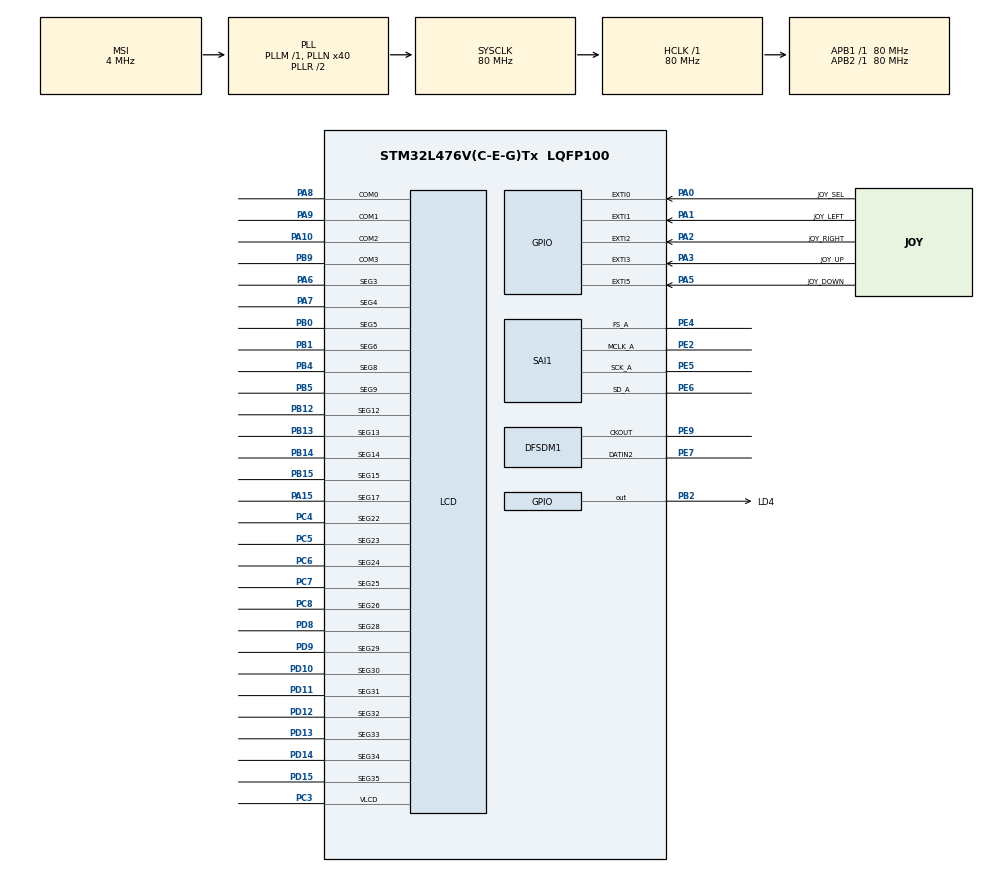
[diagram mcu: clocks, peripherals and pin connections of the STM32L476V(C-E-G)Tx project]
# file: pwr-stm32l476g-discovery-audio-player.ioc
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DFSDM1.Divider=4
DFSDM1.DmaMode_reg_FIL0=ENABLE
DFSDM1.FastMode_reg_FIL0=ENABLE
DFSDM1.Filter_injChannel2_FIL0=DFSDM_CHANNEL_2
DFSDM1.Filter_regChannel_FIL0=DFSDM_CHANNEL_2
DFSDM1.Fosr_FIL0=64
DFSDM1.Oversampling_CH2=10
DFSDM1.RightBitShift_CH2=0x02
DFSDM1.ScanMode_inj_FIL0=ENABLE
DFSDM1.Selection=DFSDM_CHANNEL_OUTPUT_CLOCK_AUDIO
DFSDM1.SincOrder_FIL0=DFSDM_FILTER_SINC3_ORDER
Dma.DFSDM1_FLT0.0.Direction=DMA_PERIPH_TO_MEMORY
Dma.DFSDM1_FLT0.0.Instance=DMA1_Channel4
Dma.DFSDM1_FLT0.0.MemDataAlignment=DMA_MDATAALIGN_WORD
Dma.DFSDM1_FLT0.0.MemInc=DMA_MINC_ENABLE
Dma.DFSDM1_FLT0.0.Mode=DMA_CIRCULAR
Dma.DFSDM1_FLT0.0.PeriphDataAlignment=DMA_PDATAALIGN_WORD
Dma.DFSDM1_FLT0.0.PeriphInc=DMA_PINC_DISABLE
Dma.DFSDM1_FLT0.0.Priority=DMA_PRIORITY_HIGH
Dma.Request0=DFSDM1_FLT0
Dma.Request1=SAI1_A
Dma.SAI1_A.1.Direction=DMA_MEMORY_TO_PERIPH
Dma.SAI1_A.1.Instance=DMA2_Channel1
Dma.SAI1_A.1.MemDataAlignment=DMA_MDATAALIGN_HALFWORD
Dma.SAI1_A.1.MemInc=DMA_MINC_ENABLE
Dma.SAI1_A.1.Mode=DMA_CIRCULAR
Dma.SAI1_A.1.PeriphDataAlignment=DMA_PDATAALIGN_HALFWORD
Dma.SAI1_A.1.PeriphInc=DMA_PINC_DISABLE
Dma.SAI1_A.1.Priority=DMA_PRIORITY_HIGH
LCD.Bias=LCD_BIAS_1_3
LCD.BlinkFrequency=LCD_BLINKFREQUENCY_DIV8
LCD.Contrast=LCD_CONTRASTLEVEL_5
LCD.Divider=LCD_DIVIDER_16
LCD.Prescaler=LCD_PRESCALER_4
LCD.PulseOnDuration=LCD_PULSEONDURATION_4
Mcu.Family=STM32L4
Mcu.Name=STM32L476V(C-E-G)Tx
Mcu.Package=LQFP100
NVIC.DMA1_Channel4_IRQn=true\:1\:0\:true\:false\:true\:false\:true
NVIC.DMA2_Channel1_IRQn=true\:1\:0\:true\:false\:true\:false\:true
NVIC.EXTI0_IRQn=true\:0\:0\:true\:false\:true\:true\:true
NVIC.EXTI1_IRQn=true\:0\:0\:true\:false\:true\:true\:true
NVIC.EXTI2_IRQn=true\:0\:0\:true\:false\:true\:true\:true
NVIC.EXTI3_IRQn=true\:0\:0\:true\:false\:true\:true\:true
NVIC.EXTI9_5_IRQn=true\:0\:0\:true\:false\:true\:true\:true
NVIC.PriorityGroup=NVIC_PRIORITYGROUP_4
PA0.GPIO_Label=JOY_SEL
PA0.GPIO_PuPd=GPIO_PULLDOWN
PA0.Signal=GPXTI0
PA1.GPIO_Label=JOY_LEFT
PA1.GPIO_PuPd=GPIO_PULLDOWN
PA1.Signal=GPXTI1
PA10.Mode=1/4 Duty Cycle
PA10.Signal=LCD_COM2
PA15\ (JTDI).Mode=SEG17
PA15\ (JTDI).Signal=LCD_SEG17
PA2.GPIO_Label=JOY_RIGHT
PA2.GPIO_PuPd=GPIO_PULLDOWN
PA2.Signal=GPXTI2
PA3.GPIO_Label=JOY_UP
PA3.GPIO_PuPd=GPIO_PULLDOWN
PA3.Signal=GPXTI3
PA5.GPIO_Label=JOY_DOWN
PA5.GPIO_PuPd=GPIO_PULLDOWN
PA5.Signal=GPXTI5
PA6.Mode=SEG3
PA6.Signal=LCD_SEG3
PA7.Mode=SEG4
PA7.Signal=LCD_SEG4
PA8.Mode=1/4 Duty Cycle
PA8.Signal=LCD_COM0
PA9.Mode=1/4 Duty Cycle
PA9.Signal=LCD_COM1
PB0.Mode=SEG5
PB0.Signal=LCD_SEG5
PB1.Mode=SEG6
PB1.Signal=LCD_SEG6
PB12.Mode=SEG12
PB12.Signal=LCD_SEG12
PB13.Mode=SEG13
PB13.Signal=LCD_SEG13
PB14.Mode=SEG14
PB14.Signal=LCD_SEG14
PB15.Mode=SEG15
PB15.Signal=LCD_SEG15
PB2.GPIO_Label=LD4
PB2.Signal=GPIO_Output
PB4\ (NJTRST).Mode=SEG8
PB4\ (NJTRST).Signal=LCD_SEG8
PB5.Mode=SEG9
PB5.Signal=LCD_SEG9
PB9.Mode=1/4 Duty Cycle
PB9.Signal=LCD_COM3
PC3.Mode=1/4 Duty Cycle
PC3.Signal=LCD_VLCD
PC4.Mode=SEG22
PC4.Signal=LCD_SEG22
PC5.Mode=SEG23
PC5.Signal=LCD_SEG23
PC6.Mode=SEG24
PC6.Signal=LCD_SEG24
PC7.Mode=SEG25
PC7.Signal=LCD_SEG25
PC8.Mode=SEG26
PC8.Signal=LCD_SEG26
PD10.Mode=SEG30
PD10.Signal=LCD_SEG30
PD11.Mode=SEG31
PD11.Signal=LCD_SEG31
PD12.Mode=SEG32
PD12.Signal=LCD_SEG32
PD13.Mode=SEG33
PD13.Signal=LCD_SEG33
PD14.Mode=SEG34
PD14.Signal=LCD_SEG34
PD15.Mode=SEG35
PD15.Signal=LCD_SEG35
PD8.Mode=SEG28
PD8.Signal=LCD_SEG28
PD9.Mode=SEG29
PD9.Signal=LCD_SEG29
PE2.Mode=SAI_A_MasterWithClock
PE2.Signal=SAI1_MCLK_A
PE4.Mode=SAI_A_MasterWithClock
PE4.Signal=SAI1_FS_A
PE5.Mode=SAI_A_MasterWithClock
PE5.Signal=SAI1_SCK_A
PE6.Mode=SAI_A_MasterWithClock
PE6.Signal=SAI1_SD_A
PE7.Signal=S_DATAIN2DFSDM1
PE9.Signal=S_CKOUTDFSDM1
ProjectManager.HeapSize=0x200
ProjectManager.StackSize=0x400
ProjectManager.TargetToolchain=STM32CubeIDE
RCC.ADCFreq_Value=96000000
RCC.AHBFreq_Value=80000000
RCC.APB1Freq_Value=80000000
RCC.APB1TimFreq_Value=80000000
RCC.APB2Freq_Value=80000000
RCC.APB2TimFreq_Value=80000000
RCC.CortexFreq_Value=80000000
RCC.HCLKFreq_Value=80000000
RCC.HSE_VALUE=8000000
RCC.HSI_VALUE=16000000
RCC.LSE_VALUE=32768
RCC.MSI_VALUE=4000000
RCC.PLLN=40
RCC.PLLSAI1N=48
RCC.PLLSAI1P=RCC_PLLP_DIV17
RCC.SYSCLKFreq_VALUE=80000000
RCC.SYSCLKSource=RCC_SYSCLKSOURCE_PLLCLK
RCC.USBFreq_Value=96000000
RCC.VCOOutputFreq_Value=160000000
SAI1.ActiveFrameLength-SAI_A_MasterWithClock=16
SAI1.AudioFrequency-SAI_A_MasterWithClock=SAI_AUDIO_FREQUENCY_44K
SAI1.DataSize-SAI_A_MasterWithClock=SAI_DATASIZE_16
SAI1.ErrorAudioFreq-SAI_A_MasterWithClock=0.26 %
SAI1.FIFOThreshold-SAI_A_MasterWithClock=SAI_FIFOTHRESHOLD_1QF
SAI1.FSDefinition-SAI_A_MasterWithClock=SAI_FS_CHANNEL_IDENTIFICATION
SAI1.FSOffset-SAI_A_MasterWithClock=SAI_FS_BEFOREFIRSTBIT
SAI1.FrameLength-SAI_A_MasterWithClock=32
SAI1.Instance-SAI_A_MasterWithClock=SAI$Index_Block_A
SAI1.MClockEnable-SAI_A_MasterWithClock=SAI_MASTERCLOCK_ENABLE
SAI1.OutputDrive-SAI_A_MasterWithClock=SAI_OUTPUTDRIVE_ENABLE
SAI1.RealAudioFreq-SAI_A_MasterWithClock=44.117 KHz
SAI1.SlotActive-SAI_A_MasterWithClock=0x00000003
SAI1.SlotNumber-SAI_A_MasterWithClock=2
SAI1.VirtualMode-SAI_A_MasterWithClock=VM_MASTER
SAI1.VirtualSlotActive-SAI_A_MasterWithClock=SAI_SLOT_USERSETTING
SAI1.VirtualSlotActive0-SAI_A_MasterWithClock=true
SAI1.VirtualSlotActive1-SAI_A_MasterWithClock=true
SH.S_CKOUTDFSDM1.0=DFSDM1_CKOUT,CKOUT
SH.S_CKOUTDFSDM1.1=DFSDM1_CKOUT,PDM_SPI_input_from_ch2_and_internal_clock
SH.S_DATAIN2DFSDM1.0=DFSDM1_DATIN2,PDM_SPI_input_from_ch2_and_internal_clock
board=custom

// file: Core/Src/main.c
/* USER CODE BEGIN Header */
/**
  ******************************************************************************
  * @file           : main.c
  * @brief          : Main program body
  ******************************************************************************
  * @attention
  *
  * <h2><center>&copy; Copyright (c) 2023 STMicroelectronics.
  * All rights reserved.</center></h2>
  *
  * This software component is licensed by ST under BSD 3-Clause license,
  * the "License"; You may not use this file except in compliance with the
  * License. You may obtain a copy of the License at:
  *                        opensource.org/licenses/BSD-3-Clause
  *
  ******************************************************************************
  */
/* USER CODE END Header */
#include "main.h"
#include "dfsdm.h"
#include "dma.h"
#include "lcd.h"
#include "sai.h"
#include "gpio.h"

/* USER CODE BEGIN Includes */
#include "stm32l476g_discovery.h"
#include "../Components/cs43l22/cs43l22.h"
#include "app.h"
/* USER CODE END Includes */

/* USER CODE BEGIN PM */
#define SaturaLH(N, L, H) (((N)<(L))?(L):(((N)>(H))?(H):(N)))
/* USER CODE END PM */

/* USER CODE BEGIN PV */
AUDIO_DrvTypeDef *audio_drv;
int32_t RecBuff[2048];
int16_t PlayBuff[4096];
uint32_t DmaRecHalfBuffCplt	= 0;
uint32_t DmaRecBuffCplt		= 0;
uint32_t PlaybackStarted	= 0;
uint8_t volume = 80;
uint32_t i;

/* USER CODE END PV */

void SystemClock_Config(void);
/* USER CODE BEGIN PFP */
void AudioDriver_Init(void);
/* USER CODE END PFP */

int main(void)
{

  /* MCU Configuration--------------------------------------------------------*/

  /* Reset of all peripherals, Initializes the Flash interface and the Systick. */
  HAL_Init();

  /* Configure the system clock */
  SystemClock_Config();

  /* Initialize all configured peripherals */
  MX_GPIO_Init();
  MX_DMA_Init();
  MX_DFSDM1_Init();
  MX_SAI1_Init();
  MX_LCD_Init();
  /* USER CODE BEGIN 2 */

  APP_Init();

  AudioDriver_Init();

  /* Start DFSDM conversions */
  if(HAL_OK != HAL_DFSDM_FilterRegularStart_DMA(&hdfsdm1_filter0, RecBuff, 2048))
  {
    Error_Handler();
  }

  if(0 != audio_drv->Play(AUDIO_I2C_ADDRESS, (uint16_t *) &PlayBuff[0], 4096))
  {
	Error_Handler();
  }
  if(0 != audio_drv->Pause(AUDIO_I2C_ADDRESS))
  {
	Error_Handler();
  }
  if(HAL_OK != HAL_SAI_Transmit_DMA(&hsai_BlockA1, (uint8_t *) &PlayBuff[0], 4096))
  {
	Error_Handler();
  }

  /* USER CODE END 2 */

  /* Infinite loop */
  /* USER CODE BEGIN WHILE */
  while (1)
  {
	  if(DmaRecHalfBuffCplt == 1)
	  {
	  	/* Store values on Play buff */
	  	for(i = 0; i < 1024; i++)
	  	{
	  	PlayBuff[2*i]     = SaturaLH((RecBuff[i] >> 8), -32768, 32767);
	  	PlayBuff[(2*i)+1] = PlayBuff[2*i];
	  	}
	  	DmaRecHalfBuffCplt  = 0;
	  }
	  if(DmaRecBuffCplt == 1)
	  {
	  	/* Store values on Play buff */
	  	for(i = 1024; i < 2048; i++)
	  	{
	  	PlayBuff[2*i]     = SaturaLH((RecBuff[i] >> 8), -32768, 32767);
	  	PlayBuff[(2*i)+1] = PlayBuff[2*i];
	  	}
	  	DmaRecBuffCplt  = 0;
	  }

    /* USER CODE END WHILE */

  }
}

void SystemClock_Config(void)
{
  RCC_OscInitTypeDef RCC_OscInitStruct = {0};
  RCC_ClkInitTypeDef RCC_ClkInitStruct = {0};
  RCC_PeriphCLKInitTypeDef PeriphClkInit = {0};

  /** Initializes the RCC Oscillators according to the specified parameters
  * in the RCC_OscInitTypeDef structure.
  */
  RCC_OscInitStruct.OscillatorType = RCC_OSCILLATORTYPE_LSI|RCC_OSCILLATORTYPE_MSI;
  RCC_OscInitStruct.LSIState = RCC_LSI_ON;
  RCC_OscInitStruct.MSIState = RCC_MSI_ON;
  RCC_OscInitStruct.MSICalibrationValue = 0;
  RCC_OscInitStruct.MSIClockRange = RCC_MSIRANGE_6;
  RCC_OscInitStruct.PLL.PLLState = RCC_PLL_ON;
  RCC_OscInitStruct.PLL.PLLSource = RCC_PLLSOURCE_MSI;
  RCC_OscInitStruct.PLL.PLLM = 1;
  RCC_OscInitStruct.PLL.PLLN = 40;
  RCC_OscInitStruct.PLL.PLLP = RCC_PLLP_DIV7;
  RCC_OscInitStruct.PLL.PLLQ = RCC_PLLQ_DIV2;
  RCC_OscInitStruct.PLL.PLLR = RCC_PLLR_DIV2;
  if (HAL_RCC_OscConfig(&RCC_OscInitStruct) != HAL_OK)
  {
    Error_Handler();
  }
  /** Initializes the CPU, AHB and APB buses clocks
  */
  RCC_ClkInitStruct.ClockType = RCC_CLOCKTYPE_HCLK|RCC_CLOCKTYPE_SYSCLK
                              |RCC_CLOCKTYPE_PCLK1|RCC_CLOCKTYPE_PCLK2;
  RCC_ClkInitStruct.SYSCLKSource = RCC_SYSCLKSOURCE_PLLCLK;
  RCC_ClkInitStruct.AHBCLKDivider = RCC_SYSCLK_DIV1;
  RCC_ClkInitStruct.APB1CLKDivider = RCC_HCLK_DIV1;
  RCC_ClkInitStruct.APB2CLKDivider = RCC_HCLK_DIV1;

  if (HAL_RCC_ClockConfig(&RCC_ClkInitStruct, FLASH_LATENCY_4) != HAL_OK)
  {
    Error_Handler();
  }
  PeriphClkInit.PeriphClockSelection = RCC_PERIPHCLK_RTC|RCC_PERIPHCLK_SAI1
                              |RCC_PERIPHCLK_DFSDM1;
  PeriphClkInit.Sai1ClockSelection = RCC_SAI1CLKSOURCE_PLLSAI1;
  PeriphClkInit.Dfsdm1ClockSelection = RCC_DFSDM1CLKSOURCE_PCLK;
  PeriphClkInit.RTCClockSelection = RCC_RTCCLKSOURCE_LSI;
  PeriphClkInit.PLLSAI1.PLLSAI1Source = RCC_PLLSOURCE_MSI;
  PeriphClkInit.PLLSAI1.PLLSAI1M = 1;
  PeriphClkInit.PLLSAI1.PLLSAI1N = 48;
  PeriphClkInit.PLLSAI1.PLLSAI1P = RCC_PLLP_DIV17;
  PeriphClkInit.PLLSAI1.PLLSAI1Q = RCC_PLLQ_DIV2;
  PeriphClkInit.PLLSAI1.PLLSAI1R = RCC_PLLR_DIV2;
  PeriphClkInit.PLLSAI1.PLLSAI1ClockOut = RCC_PLLSAI1_SAI1CLK;
  if (HAL_RCCEx_PeriphCLKConfig(&PeriphClkInit) != HAL_OK)
  {
    Error_Handler();
  }
  /** Configure the main internal regulator output voltage
  */
  if (HAL_PWREx_ControlVoltageScaling(PWR_REGULATOR_VOLTAGE_SCALE1) != HAL_OK)
  {
    Error_Handler();
  }
}

/* USER CODE BEGIN 4 */

void AudioDriver_Init(void) {

  /* Enable SAI to generate clock used by audio driver */
  __HAL_SAI_ENABLE(&hsai_BlockA1);

  /* Initialize audio driver */
  if(CS43L22_ID != cs43l22_drv.ReadID(AUDIO_I2C_ADDRESS))
  {
	Error_Handler();
  }
  audio_drv = &cs43l22_drv;
  audio_drv->Reset(AUDIO_I2C_ADDRESS);
  if(0 != audio_drv->Init(AUDIO_I2C_ADDRESS, OUTPUT_DEVICE_HEADPHONE, volume, AUDIO_FREQUENCY_44K))
  {
	Error_Handler();
  }
}

/**
  * @brief  Half regular conversion complete callback.
  * @param  hdfsdm_filter : DFSDM filter handle.
  * @retval None
  */
void HAL_DFSDM_FilterRegConvHalfCpltCallback(DFSDM_Filter_HandleTypeDef *hdfsdm_filter)
{
  DmaRecHalfBuffCplt = 1;
}

/**
  * @brief  Regular conversion complete callback.
  * @note   In interrupt mode, user has to read conversion value in this function
            using HAL_DFSDM_FilterGetRegularValue.
  * @param  hdfsdm_filter : DFSDM filter handle.
  * @retval None
  */
void HAL_DFSDM_FilterRegConvCpltCallback(DFSDM_Filter_HandleTypeDef *hdfsdm_filter)
{
  DmaRecBuffCplt = 1;
}

/* USER CODE END 4 */

void Error_Handler(void)
{
  /* USER CODE BEGIN Error_Handler_Debug */
  /* User can add his own implementation to report the HAL error return state */
	while (1)
	{
	  /* Toggle LED4 with a period of one second */
	  HAL_GPIO_TogglePin(GPIOB, GPIO_PIN_2);
	  HAL_Delay(1000);
	}
  /* USER CODE END Error_Handler_Debug */
}

/************************ (C) COPYRIGHT STMicroelectronics *****END OF FILE****/
